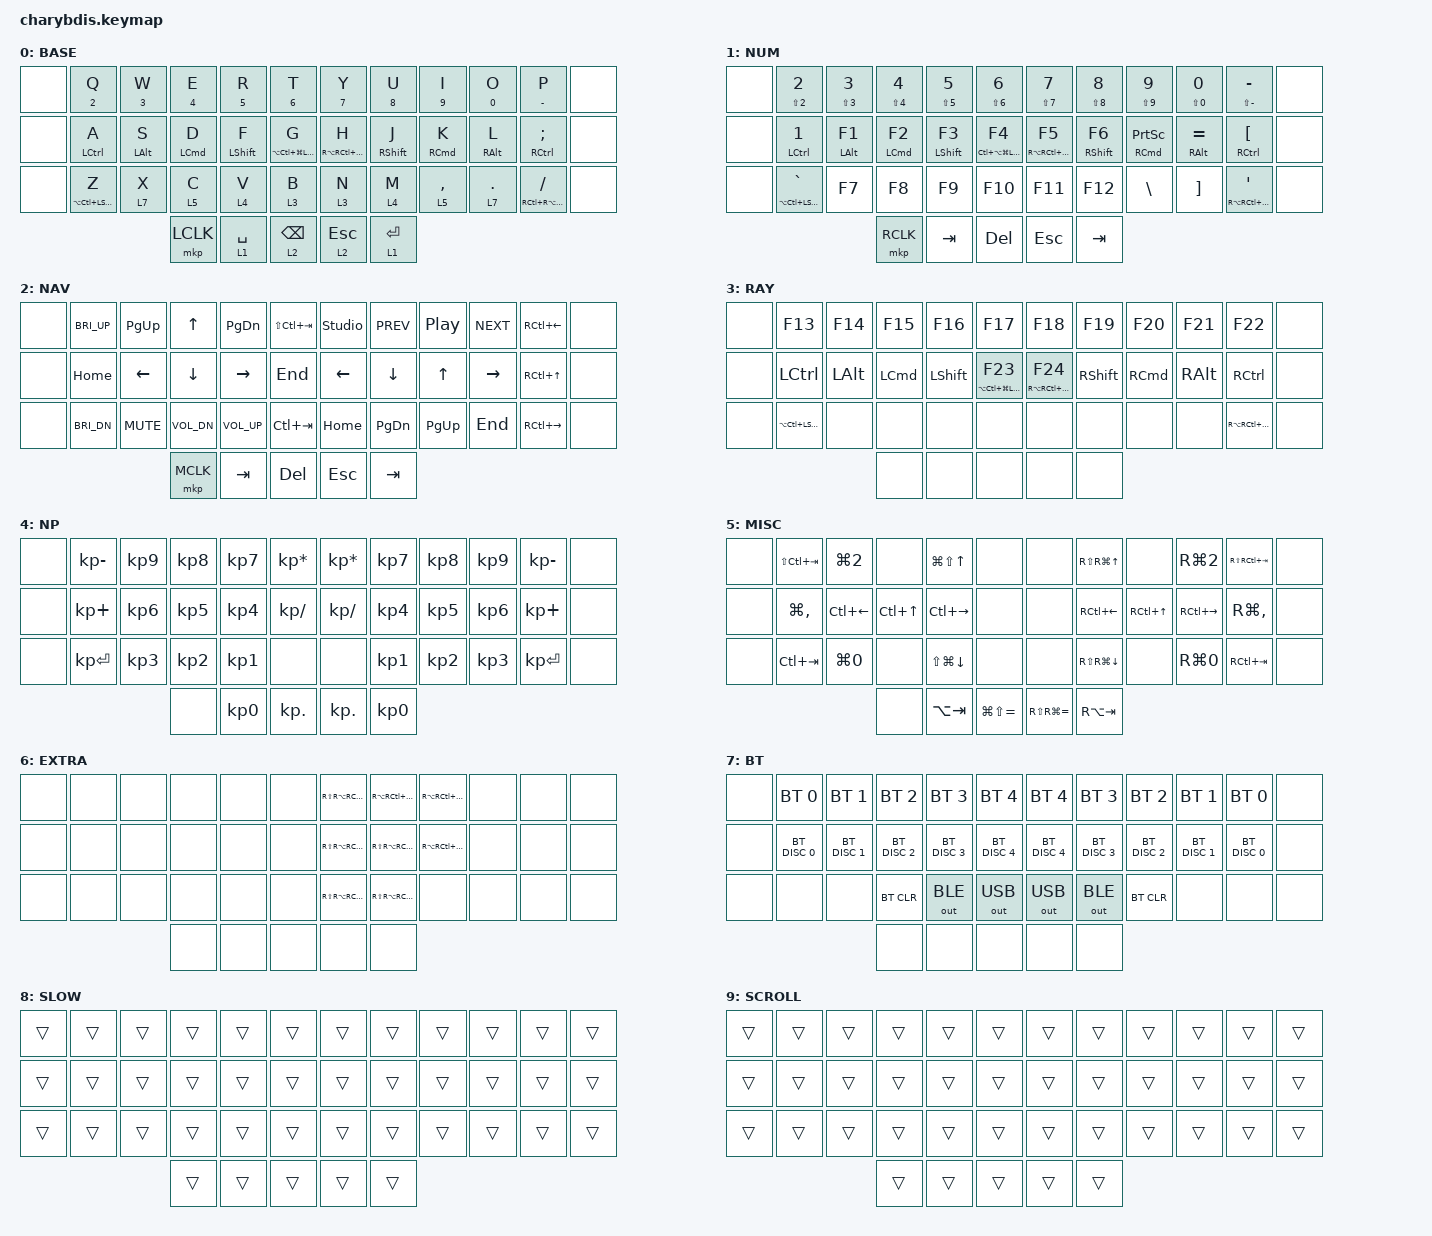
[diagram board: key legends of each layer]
#include <behaviors/mouse_keys.dtsi>
#include "macros.dtsi"
#include <dt-bindings/zmk/mouse.h>
#include <behaviors.dtsi>
#include <dt-bindings/zmk/bt.h>
#include <dt-bindings/zmk/keys.h>
#include <dt-bindings/zmk/outputs.h>
#include <dt-bindings/zmk/pointing.h>

// / {
//     chosen { zmk,matrix_transform = &default_transform; };
// };

/ {
    /* input config for mouse move mode */

    trackball_listener {
        compatible = "zmk,input-behavior-listener";
        device = <&vtrackball>;
        layers = <0 2 7>;
        evt-type = <INPUT_EV_REL>;
        x-input-code = <INPUT_REL_X>;
        y-input-code = <INPUT_REL_Y>;
        scale-multiplier = <1>;
        scale-divisor = <1>;

        // bindings = <&ib_toggle_layer 7>;
    };

    /* input config for snipe mode */

    trackball_snipe_listener {
        compatible = "zmk,input-behavior-listener";
        device = <&vtrackball>;
        layers = <8>;
        evt-type = <INPUT_EV_REL>;
        x-input-code = <INPUT_REL_X>;
        y-input-code = <INPUT_REL_Y>;
        scale-multiplier = <1>;
        scale-divisor = <2>;
    };

    /* input config for mouse scroll mode */

    trackball_scroll_listener {
        compatible = "zmk,input-behavior-listener";
        device = <&vtrackball>;
        layers = <9>;
        evt-type = <INPUT_EV_REL>;
        x-input-code = <INPUT_REL_MISC>;
        y-input-code = <INPUT_REL_WHEEL>;
        y-invert;
        bindings = <&ib_wheel_scaler 1 14>;
    };

    /* define a resolution down scaler only for INPUT_REL_WHEEL */

    ib_wheel_scaler: ib_wheel_scaler {
        compatible = "zmk,input-behavior-scaler";
        #binding-cells = <2>;
        evt-type = <INPUT_EV_REL>;
        input-code = <INPUT_REL_WHEEL>;
    };

    /* adjust cooldown waiting period for mouse key layer after activated */

    ib_toggle_layer: ib_toggle_layer {
        compatible = "zmk,input-behavior-tog-layer";
        #binding-cells = <1>;
        time-to-live-ms = <750>;
    };

    behaviors {
        hm: homerow_mod {
            compatible = "zmk,behavior-hold-tap";
            #binding-cells = <2>;
            flavor = "tap-preferred";
            tapping-term-ms = <175>; // triggers the hold behavior when the tapping-term-ms has expired
            quick-tap-ms = <150>; // If you press a tapped hold-tap again within quick-tap-ms milliseconds of the first press, it will always trigger the tap behavior.
            require-prior-idle-ms = <185>; // like quick-tap-ms however it will apply for any non-modifier key pressed before it
            bindings = <&kp>, <&kp>;

            // hold, tap
        };

        td_cursor: td_scroll_or_cursor {
            compatible = "zmk,behavior-tap-dance";
            #binding-cells = <0>;
            bindings = <&lt 9 ESC>, <&to 8>;

            // hold, tap, double_tap
        };

        httl: ht_two_layers {
            compatible = "zmk,behavior-hold-tap";
            bindings = <&mo>, <&to>;

            #binding-cells = <2>;
            flavor = "balanced";
            tapping-term-ms = <125>;
        };

        td_layers: td_layer_swap {
            compatible = "zmk,behavior-tap-dance";
            #binding-cells = <0>;
            bindings = <&to 0>, <&to 0>, <&to 0>;

            // tap, double_tap, tripple_tap
        };

        td_clk_scrl: td_click_or_scroll {
            compatible = "zmk,behavior-tap-dance";
            #binding-cells = <0>;
            tapping-term-ms = <250>;
            bindings = <&mkp RCLK>, <&mo 0>;

            // tap/hold, double_tap
        };

        td_bore: BASE_or_EXTRA {
            compatible = "zmk,behavior-tap-dance";
            #binding-cells = <0>;
            bindings = <&mo 0>, <&to 0>;
        };
    };

    combos {
        compatible = "zmk,combos";

        // GameLayer {
        //     bindings = <&tog 4>;
        //     key-positions = <8 9>;
        // };
        // PhotoLayer {
        //     bindings = <&tog 5>;
        //     key-positions = <2 3>;
        // };

        LCAPSWORD {
            bindings = <&caps_word>;
            key-positions = <4 3>;
        };

        RCAPSWORD {
            bindings = <&caps_word>;
            key-positions = <7 8>;
        };

        LBOOTLOAD {
            bindings = <&bootloader>;
            key-positions = <1 25>;
        };

        RBOOTLOAD {
            bindings = <&bootloader>;
            key-positions = <10 34>;
        };

        LSCROLL {
            bindings = <&td_cursor>;
            key-positions = <37 38>;
        };

        LCPS {
            bindings = <&kp CAPS>;
            key-positions = <2 3>;
        };

        RCPS {
            bindings = <&kp CAPS>;
            key-positions = <8 9>;
        };

        RSCROLL {
            bindings = <&td_cursor>;
            key-positions = <31 32>;
        };

        CLICK {
            bindings = <&mkp LCLK>;
            key-positions = <39 40>;
        };

        REXTRA {
            bindings = <&mo 6>;
            key-positions = <34 33>;
        };

        LEXTRA {
            bindings = <&mo 6>;
            key-positions = <25 26>;
        };

        SLOW {
            bindings = <&mo 8>;
            key-positions = <31 34>;
        };
    };

    // ╭──────┬──────┬──────┬──────┬──────┬──────╮  ╭──────┬──────┬──────┬──────┬──────┬──────╮
    //    00     01     02     03    04      05        06     07     08     09     10     11
    // ├──────┼──────┼──────┼──────┼──────┼──────┤  ├──────┼──────┼──────┼──────┼──────┼──────┤
    //    12     13     14     15    16      17        18     19     20     21     22     23
    // ├──────┼──────┼──────┼──────┼──────┼──────┤  ├──────┼──────┼──────┼──────┼──────┼──────┤
    //    24     25     26     27    28      29        30     31     32     33     34     35
    // ╰──────┴──────┴──────┼──────┼──────┼──────┤  ├──────┼──────┼──────┴──────┴──────┴──────╯
    //                         36     37     38        39     40
    //                      ╰──────┴──────┴──────╯  ╰──────┴──────╯
    // #define BASE    0
    // #define NUM     1
    // #define NAV     2
    // #define SYM     3
    // #define GAME    4
    // #define PHOTOS  5
    // #define EXTRAS  6
    // #define MOUSE   7
    // #define SLOW    8
    // #define SCROLL  9

    keymap {
        compatible = "zmk,keymap";

        BASE {
            bindings = <
&none  &hm N2 Q                  &hm N3 W        &hm N4 E    &hm N5 R          &hm N6 T                        &hm N7 Y                       &hm N8 U           &hm N9 I     &hm N0 O         &hm MINUS P                    &none
&none  &hm LCTRL A               &hm LEFT_ALT S  &hm LCMD D  &hm LEFT_SHIFT F  &hm LA(LC(LG(LEFT_SHIFT))) G    &hm RA(RC(RG(RIGHT_SHIFT))) H  &hm RIGHT_SHIFT J  &hm RCMD K   &hm RIGHT_ALT L  &hm RCTRL SEMICOLON            &none
&none  &hm LA(LC(LEFT_SHIFT)) Z  &lt 7 X         &lt 5 C     &lt 4 V           &lt 3 B                         &lt 3 N                        &lt 4 M            &lt 5 COMMA  &lt 7 DOT        &hm RC(RA(RIGHT_SHIFT)) SLASH  &none
                                                 &mkp LCLK   &lt 1 SPACE       &lt 2 BACKSPACE                 &lt 2 ESC                      &lt 1 ENTER
            >;
        };

        NUM {
            bindings = <
&none  &hm LS(N2) N2                 &hm LS(N3) N3    &hm LS(N4) N4  &hm LS(N5) N5      &hm LS(N6) N6                    &hm LS(N7) N7                   &hm LS(N8) N8       &hm LS(N9) N9         &hm LS(N0) N0        &hm LS(MINUS) MINUS                   &none
&none  &hm LCTRL N1                  &hm LEFT_ALT F1  &hm LCMD F2    &hm LEFT_SHIFT F3  &hm LC(LA(LG(LEFT_SHIFT))) F4    &hm RA(RC(RG(RIGHT_SHIFT))) F5  &hm RIGHT_SHIFT F6  &hm RCMD PRINTSCREEN  &hm RIGHT_ALT EQUAL  &hm RCTRL LEFT_BRACKET                &none
&none  &hm LA(LC(LEFT_SHIFT)) GRAVE  &kp F7           &kp F8         &kp F9             &kp F10                          &kp F11                         &kp F12             &kp BACKSLASH         &kp RIGHT_BRACKET    &hm RA(RC(RIGHT_SHIFT)) SINGLE_QUOTE  &none
                                                      &mkp RCLK      &kp TAB            &kp DEL                          &kp ESC                         &kp TAB
            >;
        };

        NAV {
            bindings = <
&none  &kp C_BRI_UP  &kp PG_UP   &kp UP        &kp PG_DN     &kp LS(LC(TAB))    &studio_unlock  &kp C_PREV  &kp C_PLAY_PAUSE  &kp C_NEXT  &kp RC(LEFT)   &none
&none  &kp HOME      &kp LEFT    &kp DOWN      &kp RIGHT     &kp END            &kp LEFT        &kp DOWN    &kp UP            &kp RIGHT   &kp RC(UP)     &none
&none  &kp C_BRI_DN  &kp K_MUTE  &kp C_VOL_DN  &kp C_VOL_UP  &kp LC(TAB)        &kp HOME        &kp PG_DN   &kp PG_UP         &kp END     &kp RC(RIGHT)  &none
                                 &mkp MCLK     &kp TAB       &kp DELETE         &kp ESC         &kp TAB
            >;
        };

        RAY {
            bindings = <
&none  &kp F13             &kp F14       &kp F15   &kp F16     &kp F17                       &kp F18                     &kp F19     &kp F20   &kp F21        &kp F22             &none
&none  &kp LCTRL           &kp LEFT_ALT  &kp LCMD  &kp LSHIFT  &hm LA(LC(LG(LSHIFT))) F23    &hm RA(RC(RG(RSHIFT))) F24  &kp RSHIFT  &kp RCMD  &kp RIGHT_ALT  &kp RCTRL           &none
&none  &kp LA(LC(LSHIFT))  &none         &none     &none       &none                         &none                       &none       &none     &none          &kp RA(RC(RSHIFT))  &none
                                         &none     &none       &none                         &none                       &none
            >;
        };

        NP {
            bindings = <
&none  &kp KP_SUBTRACT  &kp KP_N9  &kp KP_N8  &kp KP_N7  &kp KP_ASTERISK    &kp KP_ASTERISK  &kp KP_N7  &kp KP_N8  &kp KP_N9  &kp KP_SUBTRACT  &none
&none  &kp KP_PLUS      &kp KP_N6  &kp KP_N5  &kp KP_N4  &kp KP_SLASH       &kp KP_SLASH     &kp KP_N4  &kp KP_N5  &kp KP_N6  &kp KP_PLUS      &none
&none  &kp KP_ENTER     &kp KP_N3  &kp KP_N2  &kp KP_N1  &none              &none            &kp KP_N1  &kp KP_N2  &kp KP_N3  &kp KP_ENTER     &none
                                   &none      &kp KP_N0  &kp KP_DOT         &kp KP_DOT       &kp KP_N0
            >;
        };

        MISC {
            bindings = <
&none  &kp LS(LC(TAB))  &kp LG(N2)    &none       &kp LG(LS(UP))    &none                &none              &kp RS(RG(UP))    &none       &kp RG(N2)     &kp RS(RC(TAB))  &none
&none  &kp LG(COMMA)    &kp LC(LEFT)  &kp LC(UP)  &kp LC(RIGHT)     &none                &none              &kp RC(LEFT)      &kp RC(UP)  &kp RC(RIGHT)  &kp RG(COMMA)    &none
&none  &kp LC(TAB)      &kp LG(N0)    &none       &kp LS(LG(DOWN))  &none                &none              &kp RS(RG(DOWN))  &none       &kp RG(N0)     &kp RC(TAB)      &none
                                      &none       &kp LA(TAB)       &kp LG(LS(EQUAL))    &kp RS(RG(EQUAL))  &kp RA(TAB)
            >;
        };

        EXTRA {
            bindings = <
&none  &none  &none  &none  &none  &none    &kp RS(RA(RC(RG(N0))))     &kp RA(RC(RG(RS(N8))))  &kp RA(RC(RG(RS(N9))))  &none  &none  &none
&none  &none  &none  &none  &none  &none    &kp RS(RA(RC(RG(N2))))     &kp RS(RA(RC(RG(N5))))  &kp RA(RC(RG(RS(N4))))  &none  &none  &none
&none  &none  &none  &none  &none  &none    &kp RS(RA(RC(RG(MINUS))))  &kp RS(RA(RC(RG(N3))))  &none                   &none  &none  &none
                     &none  &none  &none    &none                      &none
            >;
        };

        BT {
            bindings = <
&none  &bt BT_SEL 0   &bt BT_SEL 1   &bt BT_SEL 2   &bt BT_SEL 3   &bt BT_SEL 4     &bt BT_SEL 4   &bt BT_SEL 3   &bt BT_SEL 2   &bt BT_SEL 1   &bt BT_SEL 0   &none
&none  &bt BT_DISC 0  &bt BT_DISC 1  &bt BT_DISC 2  &bt BT_DISC 3  &bt BT_DISC 4    &bt BT_DISC 4  &bt BT_DISC 3  &bt BT_DISC 2  &bt BT_DISC 1  &bt BT_DISC 0  &none
&none  &none          &none          &bt BT_CLR     &out OUT_BLE   &out OUT_USB     &out OUT_USB   &out OUT_BLE   &bt BT_CLR     &none          &none          &none
                                     &none          &none          &none            &none          &none
            >;
        };

        SLOW {
            bindings = <
&trans  &trans  &trans  &trans  &trans  &trans    &trans  &trans  &trans  &trans  &trans  &trans
&trans  &trans  &trans  &trans  &trans  &trans    &trans  &trans  &trans  &trans  &trans  &trans
&trans  &trans  &trans  &trans  &trans  &trans    &trans  &trans  &trans  &trans  &trans  &trans
                        &trans  &trans  &trans    &trans  &trans
            >;
        };

        SCROLL {
            bindings = <
&trans  &trans  &trans  &trans  &trans  &trans    &trans  &trans  &trans  &trans  &trans  &trans
&trans  &trans  &trans  &trans  &trans  &trans    &trans  &trans  &trans  &trans  &trans  &trans
&trans  &trans  &trans  &trans  &trans  &trans    &trans  &trans  &trans  &trans  &trans  &trans
                        &trans  &trans  &trans    &trans  &trans
            >;
        };
    };
};
